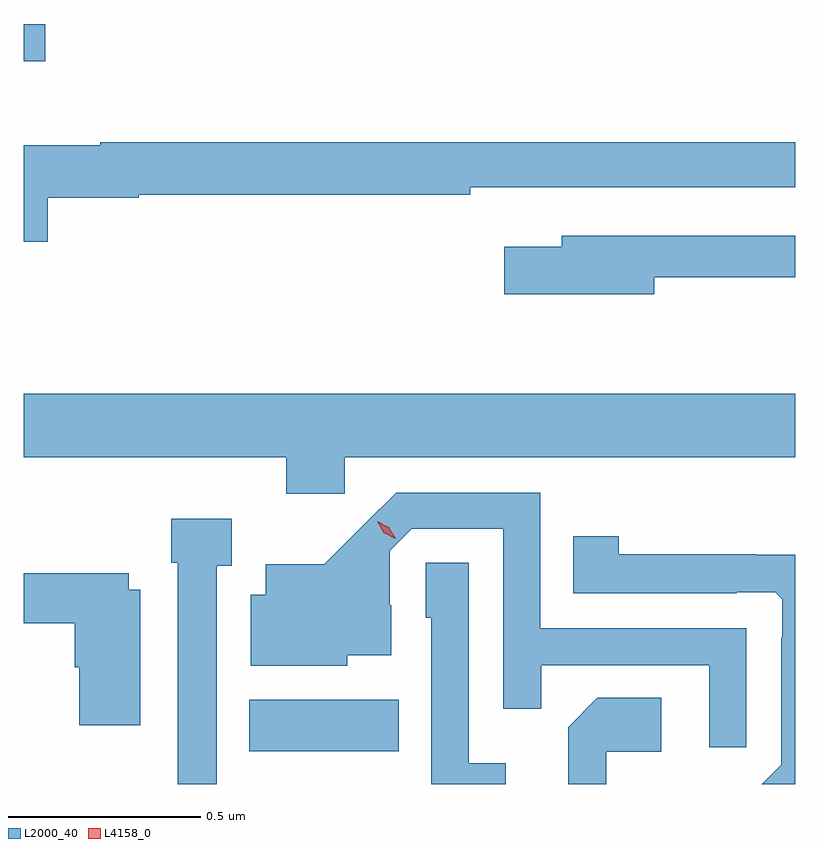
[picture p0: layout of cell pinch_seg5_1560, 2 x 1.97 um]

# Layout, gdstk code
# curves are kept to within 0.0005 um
import gdstk
lib = gdstk.Library(unit=1e-6, precision=1e-09)
def R(c, l, rs):  # rectangles x0, y0, x1, y1
    for r in rs: c.add(gdstk.rectangle(r[:2], r[2:], *l))
def P(c, l, *ps):  # polygons
    for p in ps: c.add(gdstk.Polygon(p, *l))
L2000_40 = (2000, 40)
L4158_0 = (4158, 0)

pinch_seg5_1560 = lib.new_cell('pinch_seg5_1560')
R(pinch_seg5_1560, L2000_40, [(311.861,849.338,312.248,849.472), (311.276,851.126,311.332,851.223)])
P(pinch_seg5_1560, L2000_40, [(311.338,850.772),(311.574,850.772),(311.574,850.78),(312.434,850.78),(312.434,850.8),(313.276,850.8),(313.276,850.916),(311.474,850.916),(311.474,850.909),(311.276,850.909),(311.276,850.658),(311.338,850.658)],
  [(312.91,850.566),(313.276,850.566),(313.276,850.674),(312.671,850.674),(312.671,850.645),(312.522,850.645),(312.522,850.523),(312.91,850.523)],
  [(312.108,850.1),(313.276,850.1),(313.276,850.264),(311.276,850.264),(311.276,850.1),(311.957,850.1),(311.957,850.005),(312.108,850.005)],
  [(313.149,849.657),(312.615,849.657),(312.615,850.008),(312.242,850.008),(312.055,849.823),(311.903,849.823),(311.903,849.744),(311.864,849.744),(311.864,849.56),(312.114,849.56),(312.114,849.587),(312.229,849.587),(312.229,849.716),(312.225,849.716),(312.225,849.858),(312.282,849.915),(312.519,849.915),(312.519,849.448),(312.617,849.448),(312.617,849.561),(313.053,849.561),(313.053,849.348),(313.149,849.348)],
  [(311.776,849.819),(311.815,849.819),(311.815,849.94),(311.658,849.94),(311.658,849.827),(311.675,849.827),(311.675,849.253),(311.776,849.253)],
  [(313.276,849.847),(313.175,849.847),(313.175,849.848),(312.819,849.848),(312.819,849.895),(312.7,849.895),(312.7,849.747),(313.124,849.747),(313.124,849.75),(313.224,849.75),(313.242,849.732),(313.242,849.632),(313.239,849.632),(313.239,849.303),(313.189,849.253),(313.276,849.253)],
  [(312.526,849.307),(312.429,849.307),(312.429,849.827),(312.318,849.827),(312.318,849.684),(312.333,849.684),(312.333,849.253),(312.526,849.253)],
  [(311.578,849.757),(311.548,849.757),(311.548,849.799),(311.276,849.799),(311.276,849.67),(311.408,849.67),(311.408,849.555),(311.42,849.555),(311.42,849.405),(311.578,849.405)],
  [(312.786,849.336),(312.928,849.336),(312.928,849.476),(312.763,849.476),(312.687,849.4),(312.687,849.253),(312.786,849.253)])
P(pinch_seg5_1560, L4158_0, [(312.239,849.889),(312.209,849.904),(312.192,849.934),(312.192,849.934),(312.192,849.934),(312.222,849.919),(312.24,849.889),(312.24,849.889)])

lib.write_gds('pinch_seg5_1560.gds')
